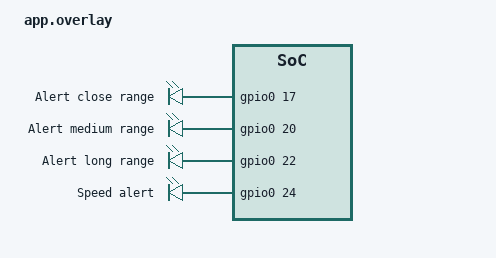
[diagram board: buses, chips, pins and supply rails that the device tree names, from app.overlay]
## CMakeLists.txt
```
cmake_minimum_required(VERSION 3.20.0)
set(DTC_OVERLAY_FILE ${CMAKE_CURRENT_SOURCE_DIR}/app.overlay)
find_package(Zephyr REQUIRED HINTS $ENV{ZEPHYR_BASE})
project(varia_radar)
target_sources(app PRIVATE src/main.c)
```

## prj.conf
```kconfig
# BLE Central
CONFIG_BT=y
CONFIG_BT_CENTRAL=y
CONFIG_BT_GATT_CLIENT=y

# Security — required for eRTL615
CONFIG_BT_FIXED_PASSKEY=n
CONFIG_BT_SMP=y
CONFIG_BT_SMP_APP_PAIRING_ACCEPT=y
CONFIG_BT_SMP_ALLOW_UNAUTH_OVERWRITE=y
CONFIG_BT_BONDABLE=y
CONFIG_BT_SETTINGS=y
CONFIG_FLASH=y
CONFIG_FLASH_PAGE_LAYOUT=y
CONFIG_NVS=y
CONFIG_SETTINGS=y

# Scan + connect
CONFIG_BT_SCAN=y
CONFIG_BT_SCAN_FILTER_ENABLE=y
CONFIG_BT_SCAN_NAME_CNT=1

# Stack sizes
CONFIG_BT_RX_STACK_SIZE=2048
CONFIG_SYSTEM_WORKQUEUE_STACK_SIZE=2048

# GPIO for LEDs and buzzer
CONFIG_GPIO=y

# Logging
CONFIG_LOG=y
CONFIG_BT_SMP_LOG_LEVEL_WRN=y
CONFIG_BT_LOG_LEVEL_WRN=y

CONFIG_BUILD_OUTPUT_UF2=y
```

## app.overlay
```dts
/ {
	leds {
		led1: led_1 {
			gpios = <&gpio0 17 GPIO_ACTIVE_HIGH>;
			label = "Alert close range";
		};
		led2: led_2 {
			gpios = <&gpio0 20 GPIO_ACTIVE_HIGH>;
			label = "Alert medium range";
		};
		led3: led_3 {
			gpios = <&gpio0 22 GPIO_ACTIVE_HIGH>;
			label = "Alert long range";
		};	
		buzzer1: buzzer_1 {
			gpios = <&gpio0 24 GPIO_ACTIVE_HIGH>;
			label = "Speed alert";
		};
	};

	aliases {
		led1 = &led1;
		led2 = &led2;
		led3 = &led3;
		buzzer1 = &buzzer1;
	};
};
```

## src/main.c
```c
#include <zephyr/kernel.h>
#include <zephyr/bluetooth/bluetooth.h>
#include <zephyr/bluetooth/conn.h>
#include <zephyr/bluetooth/gatt.h>
#include <zephyr/bluetooth/uuid.h>
#include <zephyr/bluetooth/hci.h>
#include <zephyr/drivers/gpio.h>
#include <zephyr/settings/settings.h>
#include <zephyr/logging/log.h>

LOG_MODULE_REGISTER(varia, LOG_LEVEL_INF);


/* Forward declaration */
static void scan_cb(const bt_addr_le_t *addr, int8_t rssi,
                    uint8_t type, struct net_buf_simple *ad);

/* ── LEDs ─────────────────────────────────────────────────────────────────── */
static const struct gpio_dt_spec led_close = GPIO_DT_SPEC_GET(DT_ALIAS(led1), gpios);
static const struct gpio_dt_spec led_medium = GPIO_DT_SPEC_GET(DT_ALIAS(led2), gpios);
static const struct gpio_dt_spec led_long = GPIO_DT_SPEC_GET(DT_ALIAS(led3), gpios);
static const struct gpio_dt_spec buzzer = GPIO_DT_SPEC_GET(DT_ALIAS(buzzer1), gpios);

/* ── Varia UUIDs ─────────────────────────────────────────────────────────── */
/* 6a4e3200-667b-11e3-949a-0800200c9a66 */
static struct bt_uuid_128 varia_svc_uuid = BT_UUID_INIT_128(
    0x66, 0x9a, 0x0c, 0x20, 0x00, 0x08, 0x9a, 0x94,
    0xe3, 0x11, 0x7b, 0x66, 0x00, 0x32, 0x4e, 0x6a);

/* 6a4e3203-667b-11e3-949a-0800200c9a66 */
static struct bt_uuid_128 varia_chr_uuid = BT_UUID_INIT_128(
    0x66, 0x9a, 0x0c, 0x20, 0x00, 0x08, 0x9a, 0x94,
    0xe3, 0x11, 0x7b, 0x66, 0x03, 0x32, 0x4e, 0x6a);

/* ── State ───────────────────────────────────────────────────────────────── */
static struct bt_conn *varia_conn;
static uint16_t        varia_chr_handle;
static int             threat_count = 0;
static int             closest_dist = 255;

/* ── LED update ──────────────────────────────────────────────────────────── */
static void update_led(void)
{
    if (threat_count == 0) {
        gpio_pin_set_dt(&led_close, 0);
        gpio_pin_set_dt(&led_medium, 0);
        gpio_pin_set_dt(&led_long, 0);
        gpio_pin_set_dt(&buzzer, 0);
    } else if (closest_dist < 40) {
        gpio_pin_set_dt(&led_close, 1);
        gpio_pin_set_dt(&led_medium, 0);
        gpio_pin_set_dt(&led_long, 0);
        gpio_pin_set_dt(&buzzer, 1);
    } else if (closest_dist < 100) {
        gpio_pin_set_dt(&led_close, 0);
        gpio_pin_set_dt(&led_medium, 1);
        gpio_pin_set_dt(&led_long, 0);
        gpio_pin_set_dt(&buzzer, 0);
    } else {
        gpio_pin_set_dt(&led_close, 0);
        gpio_pin_set_dt(&led_medium, 0);
        gpio_pin_set_dt(&led_long, 1);
        gpio_pin_set_dt(&buzzer, 0);
    }
}

/* ── Radar notification ──────────────────────────────────────────────────── */
static uint8_t notify_cb(struct bt_conn *conn,
                          struct bt_gatt_subscribe_params *params,
                          const void *data, uint16_t length)
{
    if (!data) {
        /* CCC write rejected (device pushes notifications without CCC) — keep handler */
        return BT_GATT_ITER_CONTINUE;
    }

    const uint8_t *d = data;
    int threats = (length - 1) / 3;
    threat_count = threats;
    closest_dist = 255;

    if (threats > 0) {
        for (int i = 0; i < threats; i++) {
            uint8_t dist = d[2 + i * 3];
            if (dist < closest_dist) closest_dist = dist;
        }
        LOG_INF("Threats: %d  closest: %dm", threats, closest_dist);
    } else {
        LOG_INF("All clear");
    }

    return BT_GATT_ITER_CONTINUE;
}

/* ── GATT discovery ──────────────────────────────────────────────────────── */
static struct bt_gatt_subscribe_params subscribe_params;
static struct bt_gatt_discover_params  discover_chr_params;
static struct bt_gatt_discover_params  discover_svc_params;

static uint8_t discover_chr_cb(struct bt_conn *conn,
                                 const struct bt_gatt_attr *attr,
                                 struct bt_gatt_discover_params *params)
{
    if (!attr) {
        LOG_WRN("Characteristic not found");
        return BT_GATT_ITER_STOP;
    }

    struct bt_gatt_chrc *chrc = attr->user_data;
    varia_chr_handle = chrc->value_handle;

    LOG_INF("Characteristic handle: %d props: 0x%02x",
            varia_chr_handle, chrc->properties);

    subscribe_params.notify       = notify_cb;
    subscribe_params.value        = BT_GATT_CCC_NOTIFY;
    subscribe_params.value_handle = varia_chr_handle;
    subscribe_params.ccc_handle   = varia_chr_handle + 1;

    struct bt_conn_info info;
    bt_conn_get_info(conn, &info);

    int err = bt_gatt_subscribe(conn, &subscribe_params);
    if (err && err != -EALREADY) {
        LOG_WRN("Subscribe failed (%d) — trying resubscribe", err);
        err = bt_gatt_resubscribe(info.id, info.le.dst, &subscribe_params);
        if (err && err != -EALREADY) {
            LOG_ERR("Resubscribe failed: %d", err);
        } else {
            LOG_INF("Listening for radar notifications (resubscribe)...");
        }
    } else {
        LOG_INF("Listening for radar notifications...");
    }

    return BT_GATT_ITER_STOP;
}

static uint8_t discover_svc_cb(struct bt_conn *conn,
                                 const struct bt_gatt_attr *attr,
                                 struct bt_gatt_discover_params *params)
{
    if (!attr) {
        LOG_ERR("Varia service not found");
        bt_conn_disconnect(conn, BT_HCI_ERR_REMOTE_USER_TERM_CONN);
        return BT_GATT_ITER_STOP;
    }

    LOG_INF("Varia service found — discovering characteristic...");

    discover_chr_params.uuid         = &varia_chr_uuid.uuid;
    discover_chr_params.func         = discover_chr_cb;
    discover_chr_params.start_handle = attr->handle + 1;
    discover_chr_params.end_handle   = 0xffff;
    discover_chr_params.type         = BT_GATT_DISCOVER_CHARACTERISTIC;

    bt_gatt_discover(conn, &discover_chr_params);
    return BT_GATT_ITER_STOP;
}

static void start_discovery(struct bt_conn *conn)
{
    discover_svc_params.uuid         = &varia_svc_uuid.uuid;
    discover_svc_params.func         = discover_svc_cb;
    discover_svc_params.start_handle = BT_ATT_FIRST_ATTRIBUTE_HANDLE;
    discover_svc_params.end_handle   = BT_ATT_LAST_ATTRIBUTE_HANDLE;
    discover_svc_params.type         = BT_GATT_DISCOVER_PRIMARY;

    int err = bt_gatt_discover(conn, &discover_svc_params);
    if (err) {
        LOG_ERR("Discovery start failed: %d", err);
    }
}

/* ── Auth callbacks ───────────────────────────────────────────────────────── */
static void auth_cancel(struct bt_conn *conn)
{
    LOG_INF("Pairing cancelled");
}

static struct bt_conn_auth_cb auth_cb = {
    .cancel = auth_cancel,
};

static void pairing_complete_cb(struct bt_conn *conn, bool bonded)
{
    LOG_INF("Pairing complete, bonded: %d", bonded);
}

static void pairing_failed_cb(struct bt_conn *conn,
                                enum bt_security_err reason)
{
    LOG_WRN("Pairing failed: %d — continuing at L1", reason);
}

static struct bt_conn_auth_info_cb auth_info_cb = {
    .pairing_complete = pairing_complete_cb,
    .pairing_failed   = pairing_failed_cb,
};

/* ── Security changed ────────────────────────────────────────────────────── */
static void security_changed_cb(struct bt_conn *conn, bt_security_t level,
                                  enum bt_security_err err)
{
    LOG_INF("Security changed: level=%d err=%d", level, err);
    start_discovery(conn);
}

static void connected_cb(struct bt_conn *conn, uint8_t err)
{
    if (err) {
        LOG_ERR("Connect failed: %d", err);
        return;
    }

    LOG_INF("Connected");
    varia_conn = bt_conn_ref(conn);
    start_discovery(conn);
}

static void disconnected_cb(struct bt_conn *conn, uint8_t reason)
{
    LOG_INF("Disconnected, reason: 0x%02x", reason);
    threat_count = 0;
    closest_dist = 255;
    gpio_pin_set_dt(&led_close, 0);
    gpio_pin_set_dt(&led_medium, 0);
    gpio_pin_set_dt(&led_long, 0);
    gpio_pin_set_dt(&buzzer, 0);

    if (varia_conn) {
        bt_conn_unref(varia_conn);
        varia_conn = NULL;
    }

    /* Add a 2 s delay before rescanning to avoid a rapid reconnect storm */
    k_sleep(K_MSEC(2000));
    bt_le_scan_start(BT_LE_SCAN_ACTIVE, scan_cb);
}

BT_CONN_CB_DEFINE(conn_callbacks) = {
    .connected        = connected_cb,
    .disconnected     = disconnected_cb,
    .security_changed = security_changed_cb,
};

/* ── Scan callback ───────────────────────────────────────────────────────── */
static void scan_cb(const bt_addr_le_t *addr, int8_t rssi,
                     uint8_t type, struct net_buf_simple *ad)
{
    char name[32] = {0};
    bool svc_match = false;

    struct net_buf_simple_state state;
    net_buf_simple_save(ad, &state);

    while (ad->len > 1) {
        uint8_t len   = net_buf_simple_pull_u8(ad);
        uint8_t atype = net_buf_simple_pull_u8(ad);
        if (len == 0) break;

        if (atype == BT_DATA_NAME_COMPLETE ||
            atype == BT_DATA_NAME_SHORTENED) {
            uint8_t nlen = MIN(len - 1, sizeof(name) - 1);
            memcpy(name, ad->data, nlen);
            name[nlen] = '\0';
        }

        /* Match on Varia service UUID (normal-mode advertisement, no name) */
        if ((atype == BT_DATA_UUID128_ALL || atype == BT_DATA_UUID128_SOME) &&
            len - 1 == 16 &&
            memcmp(ad->data, varia_svc_uuid.val, 16) == 0) {
            svc_match = true;
        }

        if (len > 1) net_buf_simple_pull(ad, len - 1);
    }
    net_buf_simple_restore(ad, &state);

    bool name_match = strncmp(name, "eRTL", 4) == 0;
    if (!name_match && !svc_match) return;

    LOG_INF("Found Varia: %s  RSSI: %d  (name=%d svc=%d)",
            name, rssi, name_match, svc_match);
    bt_le_scan_stop();

    struct bt_conn *conn;
    struct bt_conn_le_create_param create_param = BT_CONN_LE_CREATE_PARAM_INIT(
        BT_CONN_LE_OPT_NONE,
        BT_GAP_SCAN_FAST_INTERVAL,
        BT_GAP_SCAN_FAST_INTERVAL);

    struct bt_le_conn_param conn_param = BT_LE_CONN_PARAM_INIT(
        BT_GAP_INIT_CONN_INT_MIN,
        BT_GAP_INIT_CONN_INT_MAX,
        0, 400);

    int err = bt_conn_le_create(addr, &create_param, &conn_param, &conn);
    if (err) {
        LOG_ERR("Create connection failed: %d", err);
        bt_le_scan_start(BT_LE_SCAN_ACTIVE, scan_cb);
    } else {
        bt_conn_unref(conn);
    }
}

/* ── Main ────────────────────────────────────────────────────────────────── */
int main(void)
{
    LOG_INF("Varia radar bridge starting...");

    gpio_pin_configure_dt(&led_close, GPIO_OUTPUT_INACTIVE);
    gpio_pin_configure_dt(&led_medium, GPIO_OUTPUT_INACTIVE);
    gpio_pin_configure_dt(&led_long, GPIO_OUTPUT_INACTIVE);
    gpio_pin_configure_dt(&buzzer, GPIO_OUTPUT_INACTIVE);

    gpio_pin_set_dt(&led_long, 1); k_sleep(K_MSEC(100));
    gpio_pin_set_dt(&led_long, 0); k_sleep(K_MSEC(100));

    gpio_pin_set_dt(&led_medium, 1); k_sleep(K_MSEC(100));
    gpio_pin_set_dt(&led_medium, 0); k_sleep(K_MSEC(100));


    gpio_pin_set_dt(&led_close, 1); k_sleep(K_MSEC(100));
    gpio_pin_set_dt(&led_close, 0); k_sleep(K_MSEC(100));

    bt_enable(NULL);
    settings_load();

    bt_conn_auth_cb_register(&auth_cb);
    bt_conn_auth_info_cb_register(&auth_info_cb);

    bt_le_scan_start(BT_LE_SCAN_ACTIVE, scan_cb);
    LOG_INF("Scanning for eRTL615...");

    while (1) {
        update_led();
        k_sleep(K_MSEC(50));
    }

    return 0;
}
```
